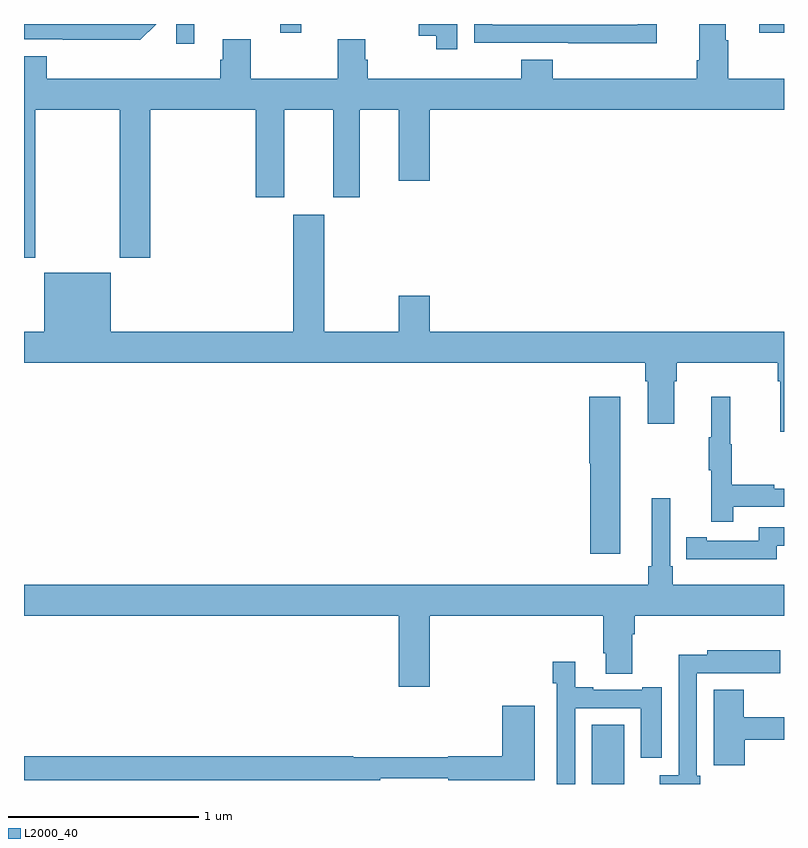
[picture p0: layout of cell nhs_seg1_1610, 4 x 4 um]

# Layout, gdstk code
import gdstk
lib = gdstk.Library(unit=1e-6, precision=1e-09)
def R(c, l, rs):  # rectangles x0, y0, x1, y1
    for r in rs: c.add(gdstk.rectangle(r[:2], r[2:], *l))
def P(c, l, *ps):  # polygons
    for p in ps: c.add(gdstk.Polygon(p, *l))
L2000_40 = (2000, 40)

nhs_seg1_1610 = lib.new_cell('nhs_seg1_1610')
R(nhs_seg1_1610, L2000_40, [(201.989,532.199,202.159,532.51), (199.8,536.094,199.897,536.199), (200.348,536.154,200.459,536.199), (202.871,536.154,203,536.199)])
P(nhs_seg1_1610, L2000_40, [(202.329,536.199),(202.23,536.199),(202.23,536.196),(201.465,536.196),(201.465,536.199),(201.369,536.199),(201.369,536.1),(201.865,536.1),(201.865,536.099),(202.329,536.099)],
  [(199.059,535.748),(199.504,535.748),(199.504,534.969),(199.664,534.969),(199.664,535.748),(200.219,535.748),(200.219,535.287),(200.371,535.287),(200.371,535.748),(200.627,535.748),(200.627,535.287),(200.767,535.287),(200.767,535.748),(200.972,535.748),(200.972,535.374),(201.136,535.374),(201.136,535.748),(203,535.748),(203,535.912),(202.706,535.912),(202.706,536.114),(202.693,536.114),(202.693,536.199),(202.553,536.199),(202.553,536.008),(202.541,536.008),(202.541,535.912),(201.782,535.912),(201.782,536.011),(201.617,536.011),(201.617,535.912),(200.81,535.912),(200.81,536.01),(200.797,536.01),(200.797,536.12),(200.65,536.12),(200.65,535.912),(200.193,535.912),(200.193,536.12),(200.045,536.12),(200.045,536.01),(200.033,536.01),(200.033,535.912),(199.121,535.912),(199.121,536.029),(199,536.029),(199,534.969),(199.059,534.969)],
  [(201.279,536.199),(201.078,536.199),(201.078,536.137),(201.171,536.137),(201.171,536.067),(201.279,536.067)],
  [(199.695,536.199),(199,536.199),(199,536.118),(199.204,536.118),(199.204,536.117),(199.612,536.117)],
  [(203,534.58),(201.136,534.58),(201.136,534.769),(200.972,534.769),(200.972,534.58),(200.581,534.58),(200.581,535.195),(200.417,535.195),(200.417,534.58),(199.456,534.58),(199.456,534.889),(199.106,534.889),(199.106,534.58),(199,534.58),(199,534.416),(202.271,534.416),(202.271,534.32),(202.283,534.32),(202.283,534.096),(202.423,534.096),(202.423,534.32),(202.436,534.32),(202.436,534.416),(202.967,534.416),(202.967,534.32),(202.979,534.32),(202.979,534.054),(203,534.054)],
  [(202.138,534.238),(201.974,534.238),(201.974,533.886),(201.98,533.886),(201.98,533.412),(202.138,533.412)],
  [(202.733,533.658),(203,533.658),(203,533.754),(202.949,533.754),(202.949,533.774),(202.726,533.774),(202.726,533.988),(202.718,533.988),(202.718,534.238),(202.616,534.238),(202.616,534.025),(202.605,534.025),(202.605,533.851),(202.616,533.851),(202.616,533.58),(202.733,533.58)],
  [(201.136,533.084),(202.049,533.084),(202.049,532.888),(202.061,532.888),(202.061,532.78),(202.201,532.78),(202.201,532.988),(202.214,532.988),(202.214,533.084),(203,533.084),(203,533.248),(202.415,533.248),(202.415,533.344),(202.401,533.344),(202.401,533.704),(202.304,533.704),(202.304,533.344),(202.285,533.344),(202.285,533.248),(199,533.248),(199,533.084),(200.972,533.084),(200.972,532.71),(201.136,532.71)],
  [(202.962,533.454),(203,533.454),(203,533.55),(202.866,533.55),(202.866,533.478),(202.594,533.478),(202.594,533.498),(202.486,533.498),(202.486,533.382),(202.594,533.382),(202.594,533.381),(202.962,533.381)],
  [(202.558,532.242),(202.542,532.242),(202.542,532.782),(202.754,532.782),(202.754,532.781),(202.981,532.781),(202.981,532.903),(202.596,532.903),(202.596,532.88),(202.446,532.88),(202.446,532.246),(202.346,532.246),(202.346,532.199),(202.558,532.199)],
  [(201.9,532.599),(202.247,532.599),(202.247,532.338),(202.357,532.338),(202.357,532.708),(202.253,532.708),(202.253,532.695),(201.997,532.695),(201.997,532.708),(201.901,532.708),(201.901,532.843),(201.784,532.843),(201.784,532.73),(201.804,532.73),(201.804,532.199),(201.9,532.199)],
  [(202.793,532.432),(203,532.432),(203,532.551),(202.788,532.551),(202.788,532.696),(202.631,532.696),(202.631,532.299),(202.793,532.299)],
  [(200.876,532.23),(201.232,532.23),(201.232,532.218),(201.688,532.218),(201.688,532.612),(201.518,532.612),(201.518,532.346),(201.234,532.346),(201.234,532.339),(200.734,532.339),(200.734,532.346),(199,532.346),(199,532.218),(200.876,532.218)])

lib.write_gds('nhs_seg1_1610.gds')
